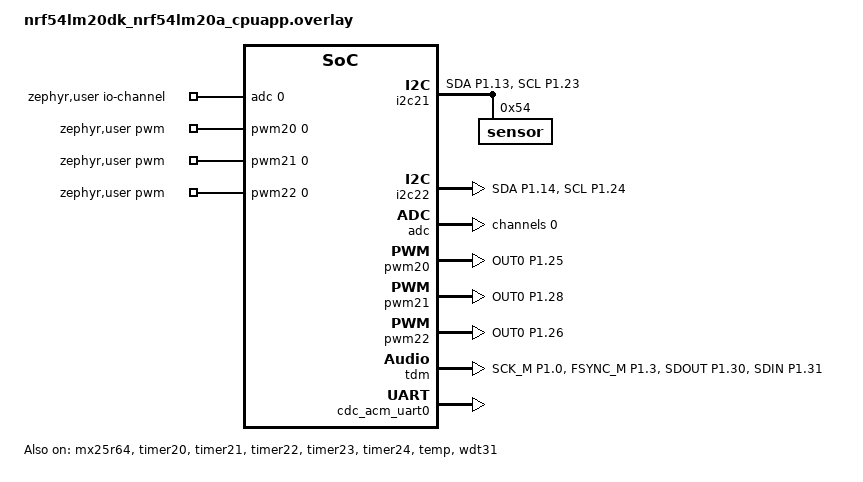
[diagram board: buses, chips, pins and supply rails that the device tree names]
/*
 * Copyright (c) 2026 Nordic Semiconductor ASA
 *
 * SPDX-License-Identifier: LicenseRef-Nordic-5-Clause
 */

/ {
	aliases {
		dut-flash = &mx25r64;
		test-gpio = &led0;
		watchdog0 = &wdt31;
		/delete-property/ pwm_led1;
	};

	zephyr,user {
		io-channels = <&adc 0>;
		pwms = <&pwm20 0 PWM_MSEC(10) PWM_POLARITY_NORMAL>,
		       <&pwm21 0 PWM_MSEC(10) PWM_POLARITY_NORMAL>,
		       <&pwm22 0 PWM_MSEC(10) PWM_POLARITY_NORMAL>;
	};
};

&pinctrl {
	i2c21_default_alt: i2c21_default_alt {
		group1 {
			psels = <NRF_PSEL(TWIM_SDA, 1, 13)>,
				<NRF_PSEL(TWIM_SCL, 1, 23)>;
		};
	};

	i2c21_sleep_alt: i2c21_sleep_alt {
		group1 {
			psels = <NRF_PSEL(TWIM_SDA, 1, 13)>,
				<NRF_PSEL(TWIM_SCL, 1, 23)>;
			low-power-enable;
		};
	};

	i2c22_default_alt: i2c22_default_alt {
		group1 {
			psels = <NRF_PSEL(TWIS_SDA, 1, 14)>,
				<NRF_PSEL(TWIS_SCL, 1, 24)>;
			bias-pull-up;
		};
	};

	i2c22_sleep_alt: i2c22_sleep_alt {
		group1 {
			psels = <NRF_PSEL(TWIS_SDA, 1, 14)>,
				<NRF_PSEL(TWIS_SCL, 1, 24)>;
			low-power-enable;
		};
	};

	pwm20_default_alt: pwm20_default_alt {
		group1 {
			psels = <NRF_PSEL(PWM_OUT0, 1, 25)>;
		};
	};

	pwm20_sleep_alt: pwm20_sleep_alt {
		group1 {
			psels = <NRF_PSEL(PWM_OUT0, 1, 25)>;
			low-power-enable;
		};
	};

	pwm21_default_alt: pwm21_default_alt {
		group1 {
			psels = <NRF_PSEL(PWM_OUT0, 1, 28)>;
		};
	};

	pwm21_sleep_alt: pwm21_sleep_alt {
		group1 {
			psels = <NRF_PSEL(PWM_OUT0, 1, 28)>;
			low-power-enable;
		};
	};

	pwm22_default_alt: pwm22_default_alt {
		group1 {
			psels = <NRF_PSEL(PWM_OUT0, 1, 26)>;
		};
	};

	pwm22_sleep_alt: pwm22_sleep_alt {
		group1 {
			psels = <NRF_PSEL(PWM_OUT0, 1, 26)>;
			low-power-enable;
		};
	};

	tdm_default_alt: tdm_default_alt {
		group1 {
			psels = <NRF_PSEL(TDM_SCK_M, 1, 0)>,
				<NRF_PSEL(TDM_FSYNC_M, 1, 3)>,
				<NRF_PSEL(TDM_SDOUT, 1, 30)>,
				<NRF_PSEL(TDM_SDIN, 1, 31)>;
		};
	};
};

dut_twim: &i2c21 {
	compatible = "nordic,nrf-twim";
	status = "okay";
	pinctrl-0 = <&i2c21_default_alt>;
	pinctrl-1 = <&i2c21_sleep_alt>;
	pinctrl-names = "default", "sleep";

	sensor: sensor@54 {
		reg = <0x54>;
	};
};

dut_twis: &i2c22 {
	compatible = "nordic,nrf-twis";
	status = "okay";
	pinctrl-0 = <&i2c22_default_alt>;
	pinctrl-1 = <&i2c22_sleep_alt>;
	pinctrl-names = "default", "sleep";
};

&mx25r64 {
	status = "okay";
};

&adc {
	#address-cells = <1>;
	#size-cells = <0>;

	channel@0 {
		reg = <0>;
		zephyr,gain = "ADC_GAIN_1";
		zephyr,reference = "ADC_REF_INTERNAL";
		zephyr,acquisition-time = <ADC_ACQ_TIME(ADC_ACQ_TIME_MICROSECONDS, 10)>;
		zephyr,input-positive = <NRF_SAADC_AIN4>; /* P1.06 */
		zephyr,resolution = <10>;
	};
};

&timer20 {
	status = "okay";
};

&timer21 {
	status = "okay";
};

&timer22 {
	status = "okay";
};

&timer23 {
	status = "okay";
};

&timer24 {
	status = "okay";
};

&pwm20 {
	status = "okay";
	pinctrl-0 = <&pwm20_default_alt>;
	pinctrl-1 = <&pwm20_sleep_alt>;
	pinctrl-names = "default", "sleep";
};

&pwm21 {
	status = "okay";
	pinctrl-0 = <&pwm21_default_alt>;
	pinctrl-1 = <&pwm21_sleep_alt>;
	pinctrl-names = "default", "sleep";
};

&pwm22 {
	status = "okay";
	pinctrl-0 = <&pwm22_default_alt>;
	pinctrl-1 = <&pwm22_sleep_alt>;
	pinctrl-names = "default", "sleep";
};

temp_sensor: &temp {
	status = "okay";
};

&gpio2 {
	status = "okay";
};

&wdt31 {
	status = "okay";
};

dut_i2s: &tdm {
	status = "okay";
	pinctrl-0 = <&tdm_default_alt>;
	pinctrl-names = "default";
};

&zephyr_udc0 {
	cdc_acm_uart0 {
		compatible = "zephyr,cdc-acm-uart";
	};
};
